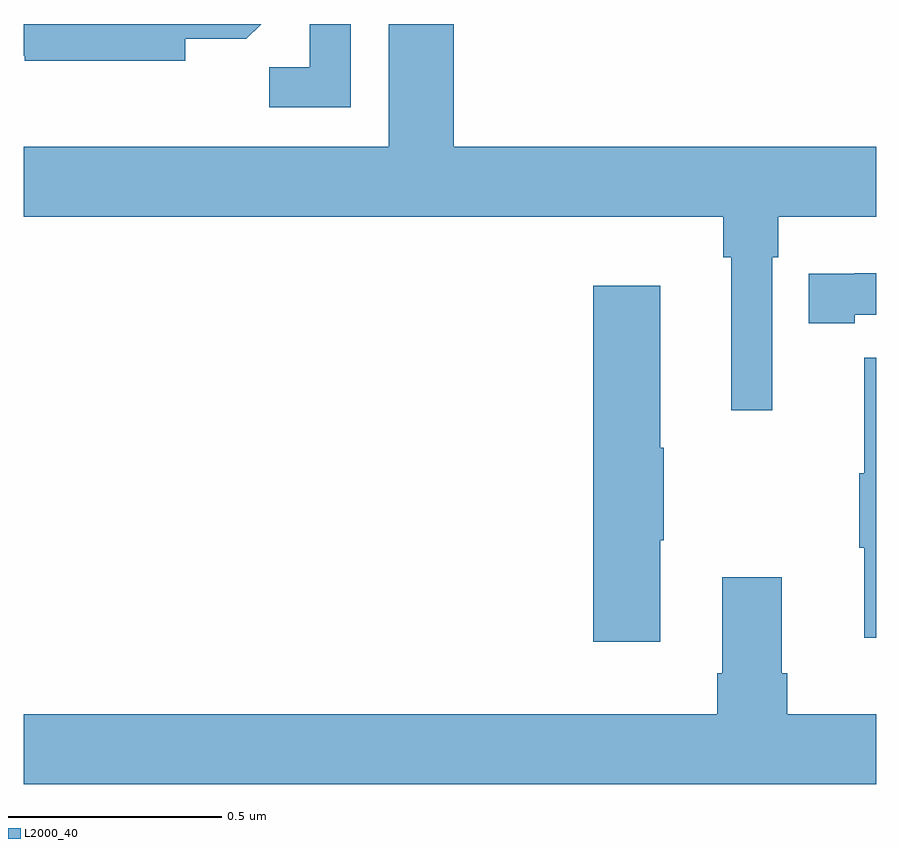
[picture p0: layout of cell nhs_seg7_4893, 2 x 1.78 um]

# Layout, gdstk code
import gdstk
lib = gdstk.Library(unit=1e-6, precision=1e-09)
def P(c, l, *ps):  # polygons
    for p in ps: c.add(gdstk.Polygon(p, *l))
L2000_40 = (2000, 40)

nhs_seg7_4893 = lib.new_cell('nhs_seg7_4893')
P(nhs_seg7_4893, L2000_40, [(179.757,1068.452),(179.771,1068.452),(179.771,1068.548),(180,1068.548),(180,1068.712),(179.009,1068.712),(179.009,1069),(178.856,1069),(178.856,1068.712),(178,1068.712),(178,1068.548),(179.641,1068.548),(179.641,1068.452),(179.66,1068.452),(179.66,1068.093),(179.757,1068.093)],
  [(178.378,1068.965),(178.522,1068.965),(178.557,1069),(178,1069),(178,1068.926),(178.002,1068.926),(178.002,1068.914),(178.378,1068.914)],
  [(178.767,1069),(178.671,1069),(178.671,1068.899),(178.576,1068.899),(178.576,1068.804),(178.767,1068.804)],
  [(179.95,1068.318),(180,1068.318),(180,1068.415),(179.95,1068.415),(179.95,1068.414),(179.842,1068.414),(179.842,1068.298),(179.95,1068.298)],
  [(179.494,1067.788),(179.502,1067.788),(179.502,1068.005),(179.494,1068.005),(179.494,1068.385),(179.336,1068.385),(179.336,1067.55),(179.494,1067.55)],
  [(180,1068.217),(179.972,1068.217),(179.972,1067.945),(179.961,1067.945),(179.961,1067.771),(179.972,1067.771),(179.972,1067.559),(180,1067.559)],
  [(180,1067.38),(179.792,1067.38),(179.792,1067.476),(179.779,1067.476),(179.779,1067.701),(179.639,1067.701),(179.639,1067.476),(179.627,1067.476),(179.627,1067.38),(178,1067.38),(178,1067.216),(180,1067.216)])

lib.write_gds('nhs_seg7_4893.gds')
